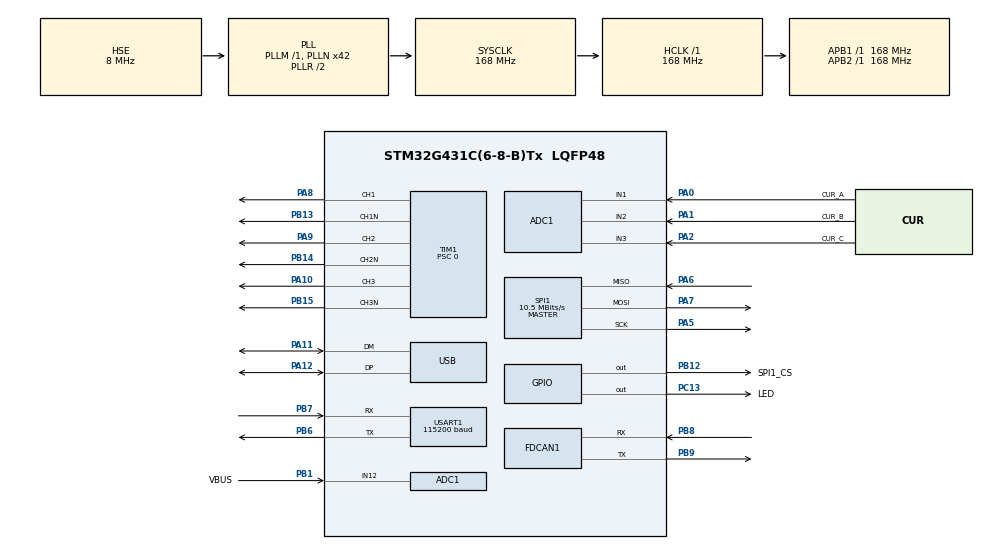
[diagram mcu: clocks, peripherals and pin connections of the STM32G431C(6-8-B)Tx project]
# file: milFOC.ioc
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ADC1.EnableInjectedConversion=ENABLE
ADC1.EnableRegularConversion=DISABLE
ADC1.ExternalTrigInjecConv=ADC_EXTERNALTRIGINJEC_T1_CC4
ADC1.InjNumberOfConversion=4
ADC1.InjectedChannel-1\#ChannelInjectedConversion=ADC_CHANNEL_1
ADC1.InjectedChannel-2\#ChannelInjectedConversion=ADC_CHANNEL_2
ADC1.InjectedChannel-3\#ChannelInjectedConversion=ADC_CHANNEL_3
ADC1.InjectedChannel-4\#ChannelInjectedConversion=ADC_CHANNEL_12
ADC1.InjectedOffsetNumber-1\#ChannelInjectedConversion=ADC_OFFSET_NONE
ADC1.InjectedOffsetNumber-2\#ChannelInjectedConversion=ADC_OFFSET_NONE
ADC1.InjectedOffsetNumber-3\#ChannelInjectedConversion=ADC_OFFSET_NONE
ADC1.InjectedOffsetNumber-4\#ChannelInjectedConversion=ADC_OFFSET_NONE
ADC1.InjectedRank-1\#ChannelInjectedConversion=1
ADC1.InjectedRank-2\#ChannelInjectedConversion=2
ADC1.InjectedRank-3\#ChannelInjectedConversion=3
ADC1.InjectedRank-4\#ChannelInjectedConversion=4
ADC1.InjectedSamplingTime-1\#ChannelInjectedConversion=ADC_SAMPLETIME_6CYCLES_5
ADC1.InjectedSamplingTime-2\#ChannelInjectedConversion=ADC_SAMPLETIME_6CYCLES_5
ADC1.InjectedSamplingTime-3\#ChannelInjectedConversion=ADC_SAMPLETIME_6CYCLES_5
ADC1.InjectedSamplingTime-4\#ChannelInjectedConversion=ADC_SAMPLETIME_6CYCLES_5
ADC1.Rank1_Channel=ADC_CHANNEL_1
ADC1.Rank2_Channel=ADC_CHANNEL_2
ADC1.Rank3_Channel=ADC_CHANNEL_3
ADC1.Rank4_Channel=ADC_CHANNEL_12
ADC1.master=1
Dma.Request0=USART1_RX
Dma.Request1=USART1_TX
Dma.Request2=SPI1_RX
Dma.Request3=SPI1_TX
Dma.SPI1_RX.2.Direction=DMA_PERIPH_TO_MEMORY
Dma.SPI1_RX.2.EventEnable=DISABLE
Dma.SPI1_RX.2.Instance=DMA1_Channel1
Dma.SPI1_RX.2.MemDataAlignment=DMA_MDATAALIGN_BYTE
Dma.SPI1_RX.2.MemInc=DMA_MINC_ENABLE
Dma.SPI1_RX.2.Mode=DMA_NORMAL
Dma.SPI1_RX.2.PeriphDataAlignment=DMA_PDATAALIGN_BYTE
Dma.SPI1_RX.2.PeriphInc=DMA_PINC_DISABLE
Dma.SPI1_RX.2.Polarity=HAL_DMAMUX_REQ_GEN_RISING
Dma.SPI1_RX.2.Priority=DMA_PRIORITY_HIGH
Dma.SPI1_RX.2.RequestNumber=1
Dma.SPI1_RX.2.SignalID=NONE
Dma.SPI1_RX.2.SyncEnable=DISABLE
Dma.SPI1_RX.2.SyncPolarity=HAL_DMAMUX_SYNC_NO_EVENT
Dma.SPI1_RX.2.SyncRequestNumber=1
Dma.SPI1_RX.2.SyncSignalID=NONE
Dma.SPI1_TX.3.Direction=DMA_MEMORY_TO_PERIPH
Dma.SPI1_TX.3.EventEnable=DISABLE
Dma.SPI1_TX.3.Instance=DMA1_Channel2
Dma.SPI1_TX.3.MemDataAlignment=DMA_MDATAALIGN_BYTE
Dma.SPI1_TX.3.MemInc=DMA_MINC_ENABLE
Dma.SPI1_TX.3.Mode=DMA_NORMAL
Dma.SPI1_TX.3.PeriphDataAlignment=DMA_PDATAALIGN_BYTE
Dma.SPI1_TX.3.PeriphInc=DMA_PINC_DISABLE
Dma.SPI1_TX.3.Polarity=HAL_DMAMUX_REQ_GEN_RISING
Dma.SPI1_TX.3.Priority=DMA_PRIORITY_HIGH
Dma.SPI1_TX.3.RequestNumber=1
Dma.SPI1_TX.3.SignalID=NONE
Dma.SPI1_TX.3.SyncEnable=DISABLE
Dma.SPI1_TX.3.SyncPolarity=HAL_DMAMUX_SYNC_NO_EVENT
Dma.SPI1_TX.3.SyncRequestNumber=1
Dma.SPI1_TX.3.SyncSignalID=NONE
Dma.USART1_RX.0.Direction=DMA_PERIPH_TO_MEMORY
Dma.USART1_RX.0.EventEnable=DISABLE
Dma.USART1_RX.0.Instance=DMA1_Channel3
Dma.USART1_RX.0.MemDataAlignment=DMA_MDATAALIGN_BYTE
Dma.USART1_RX.0.MemInc=DMA_MINC_ENABLE
Dma.USART1_RX.0.Mode=DMA_NORMAL
Dma.USART1_RX.0.PeriphDataAlignment=DMA_PDATAALIGN_BYTE
Dma.USART1_RX.0.PeriphInc=DMA_PINC_DISABLE
Dma.USART1_RX.0.Polarity=HAL_DMAMUX_REQ_GEN_RISING
Dma.USART1_RX.0.Priority=DMA_PRIORITY_HIGH
Dma.USART1_RX.0.RequestNumber=1
Dma.USART1_RX.0.SignalID=NONE
Dma.USART1_RX.0.SyncEnable=DISABLE
Dma.USART1_RX.0.SyncPolarity=HAL_DMAMUX_SYNC_NO_EVENT
Dma.USART1_RX.0.SyncRequestNumber=1
Dma.USART1_RX.0.SyncSignalID=NONE
Dma.USART1_TX.1.Direction=DMA_MEMORY_TO_PERIPH
Dma.USART1_TX.1.EventEnable=DISABLE
Dma.USART1_TX.1.Instance=DMA1_Channel4
Dma.USART1_TX.1.MemDataAlignment=DMA_MDATAALIGN_BYTE
Dma.USART1_TX.1.MemInc=DMA_MINC_ENABLE
Dma.USART1_TX.1.Mode=DMA_NORMAL
Dma.USART1_TX.1.PeriphDataAlignment=DMA_PDATAALIGN_BYTE
Dma.USART1_TX.1.PeriphInc=DMA_PINC_DISABLE
Dma.USART1_TX.1.Polarity=HAL_DMAMUX_REQ_GEN_RISING
Dma.USART1_TX.1.Priority=DMA_PRIORITY_HIGH
Dma.USART1_TX.1.RequestNumber=1
Dma.USART1_TX.1.SignalID=NONE
Dma.USART1_TX.1.SyncEnable=DISABLE
Dma.USART1_TX.1.SyncPolarity=HAL_DMAMUX_SYNC_NO_EVENT
Dma.USART1_TX.1.SyncRequestNumber=1
Dma.USART1_TX.1.SyncSignalID=NONE
FDCAN1.AutoRetransmission=ENABLE
FDCAN1.CalculateBaudRateNominal=1000000
FDCAN1.CalculateTimeBitNominal=1000
FDCAN1.CalculateTimeQuantumNominal=35.714285714285715
FDCAN1.DataPrescaler=6
FDCAN1.DataSyncJumpWidth=7
FDCAN1.DataTimeSeg1=20
FDCAN1.DataTimeSeg2=7
FDCAN1.Mode=FDCAN_MODE_NORMAL
FDCAN1.NominalPrescaler=6
FDCAN1.NominalSyncJumpWidth=7
FDCAN1.NominalTimeSeg1=20
FDCAN1.NominalTimeSeg2=7
FDCAN1.StdFiltersNbr=1
Mcu.Family=STM32G4
Mcu.Name=STM32G431C(6-8-B)Tx
Mcu.Package=LQFP48
Mcu.UserConstants=MCPWM_CLOCK_HZ,168000000;MCPWM_DEADTIME_CLOCKS,20;MCPWM_TGRO_TIME,MCPWM_PERIOD_CLOCKS-10;MCPWM_RCR,0;MCPWM_FREQ,20000;MCPWM_PERIOD_CLOCKS,MCPWM_CLOCK_HZ/2/MCPWM_FREQ
NVIC.ADC1_2_IRQn=true\:5\:0\:true\:false\:true\:true\:true\:true
NVIC.DMA1_Channel1_IRQn=true\:0\:0\:false\:false\:true\:false\:true\:true
NVIC.DMA1_Channel2_IRQn=true\:0\:0\:false\:false\:true\:false\:true\:true
NVIC.DMA1_Channel3_IRQn=true\:5\:0\:true\:false\:true\:false\:true\:true
NVIC.DMA1_Channel4_IRQn=true\:5\:0\:true\:false\:true\:false\:true\:true
NVIC.FDCAN1_IT0_IRQn=true\:6\:0\:true\:false\:true\:true\:true\:true
NVIC.FDCAN1_IT1_IRQn=true\:6\:0\:true\:false\:true\:true\:true\:true
NVIC.PriorityGroup=NVIC_PRIORITYGROUP_4
NVIC.SPI1_IRQn=true\:5\:0\:true\:false\:true\:true\:true\:true
NVIC.TIM1_TRG_COM_TIM17_IRQn=true\:15\:0\:true\:false\:true\:true\:true\:true
NVIC.TimeBase=TIM1_TRG_COM_TIM17_IRQn
NVIC.TimeBaseIP=TIM17
NVIC.USART1_IRQn=true\:7\:0\:true\:false\:true\:true\:true\:true
NVIC.USB_LP_IRQn=true\:5\:0\:true\:false\:true\:false\:true\:true
PA0.GPIO_Label=CUR_A
PA0.Mode=IN1-Single-Ended
PA0.Signal=ADC1_IN1
PA1.GPIO_Label=CUR_B
PA1.Mode=IN2-Single-Ended
PA1.Signal=ADC1_IN2
PA10.Signal=S_TIM1_CH3
PA11.Mode=Device
PA11.Signal=USB_DM
PA12.Mode=Device
PA12.Signal=USB_DP
PA13.Mode=Serial_Wire
PA13.Signal=SYS_JTMS-SWDIO
PA14.Mode=Serial_Wire
PA14.Signal=SYS_JTCK-SWCLK
PA2.GPIO_Label=CUR_C
PA2.Mode=IN3-Single-Ended
PA2.Signal=ADC1_IN3
PA5.Mode=Full_Duplex_Master
PA5.Signal=SPI1_SCK
PA6.Mode=Full_Duplex_Master
PA6.Signal=SPI1_MISO
PA7.Mode=Full_Duplex_Master
PA7.Signal=SPI1_MOSI
PA8.Signal=S_TIM1_CH1
PA9.Signal=S_TIM1_CH2
PB1.GPIO_Label=VBUS
PB1.Mode=IN12-Single-Ended
PB1.Signal=ADC1_IN12
PB12.GPIO_Label=SPI1_CS
PB12.GPIO_Speed=GPIO_SPEED_FREQ_VERY_HIGH
PB12.Signal=GPIO_Output
PB13.Mode=PWM Generation1 CH1 CH1N
PB13.Signal=TIM1_CH1N
PB14.Mode=PWM Generation2 CH2 CH2N
PB14.Signal=TIM1_CH2N
PB15.Mode=PWM Generation3 CH3 CH3N
PB15.Signal=TIM1_CH3N
PB6.Mode=Asynchronous
PB6.Signal=USART1_TX
PB7.Mode=Asynchronous
PB7.Signal=USART1_RX
PB8-BOOT0.Mode=FDCAN_Activate
PB8-BOOT0.Signal=FDCAN1_RX
PB9.Mode=FDCAN_Activate
PB9.Signal=FDCAN1_TX
PC13.GPIO_Label=LED
PC13.Signal=GPIO_Output
PF0-OSC_IN.Mode=HSE-External-Oscillator
PF0-OSC_IN.Signal=RCC_OSC_IN
PF1-OSC_OUT.Mode=HSE-External-Oscillator
PF1-OSC_OUT.Signal=RCC_OSC_OUT
ProjectManager.HeapSize=0x200
ProjectManager.StackSize=0x400
ProjectManager.TargetToolchain=CMake
RCC.ADC12Freq_Value=168000000
RCC.AHBFreq_Value=168000000
RCC.APB1Freq_Value=168000000
RCC.APB1TimFreq_Value=168000000
RCC.APB2Freq_Value=168000000
RCC.APB2TimFreq_Value=168000000
RCC.CK48CLockSelection=RCC_USBCLKSOURCE_HSI48
RCC.CortexFreq_Value=168000000
RCC.EXTERNAL_CLOCK_VALUE=12288000
RCC.HCLKFreq_Value=168000000
RCC.HSE_VALUE=8000000
RCC.HSI48_VALUE=48000000
RCC.HSI_VALUE=16000000
RCC.LSE_VALUE=32768
RCC.PLLN=42
RCC.PLLSourceVirtual=RCC_PLLSOURCE_HSE
RCC.SYSCLKFreq_VALUE=168000000
RCC.SYSCLKSource=RCC_SYSCLKSOURCE_PLLCLK
RCC.USBFreq_Value=48000000
RCC.VCOOutputFreq_Value=336000000
SH.S_TIM1_CH1.0=TIM1_CH1,PWM Generation1 CH1 CH1N
SH.S_TIM1_CH2.0=TIM1_CH2,PWM Generation2 CH2 CH2N
SH.S_TIM1_CH3.0=TIM1_CH3,PWM Generation3 CH3 CH3N
SPI1.BaudRatePrescaler=SPI_BAUDRATEPRESCALER_16
SPI1.CLKPhase=SPI_PHASE_2EDGE
SPI1.CLKPolarity=SPI_POLARITY_HIGH
SPI1.CalculateBaudRate=10.5 MBits/s
SPI1.DataSize=SPI_DATASIZE_8BIT
SPI1.Direction=SPI_DIRECTION_2LINES
SPI1.Mode=SPI_MODE_MASTER
SPI1.VirtualType=VM_MASTER
STMicroelectronics.X-CUBE-ALGOBUILD.1.5.0.LibraryCcDSPOoLibraryJjDSPOoLibrary=true
TIM1.AutoReloadPreload=TIM_AUTORELOAD_PRELOAD_DISABLE
TIM1.BreakFilter=0
TIM1.BreakState=TIM_BREAK_DISABLE
TIM1.Channel-PWM\ Generation1\ CH1\ CH1N=TIM_CHANNEL_1
TIM1.Channel-PWM\ Generation2\ CH2\ CH2N=TIM_CHANNEL_2
TIM1.Channel-PWM\ Generation3\ CH3\ CH3N=TIM_CHANNEL_3
TIM1.Channel-PWM\ Generation4\ No\ Output=TIM_CHANNEL_4
TIM1.CounterMode=TIM_COUNTERMODE_CENTERALIGNED1
TIM1.DeadTime=MCPWM_DEADTIME_CLOCKS
TIM1.PeriodNoDither=MCPWM_PERIOD_CLOCKS
TIM1.Prescaler=0
TIM1.PulseNoDither_4=MCPWM_TGRO_TIME
TIM1.RepetitionCounter=MCPWM_RCR
TIM1.SourceBRKDigInput=TIM_BREAKINPUTSOURCE_DISABLE
TIM1.TIM_MasterOutputTrigger=TIM_TRGO_OC4REF
USART1.BaudRate=115200
USART1.VirtualMode-Asynchronous=VM_ASYNC
USB_DEVICE.CLASS_NAME_FS=CDC
USB_DEVICE.VirtualMode=Cdc
USB_DEVICE.VirtualModeFS=Cdc_FS
VP_CRC_VS_CRC.Mode=CRC_Activate
VP_RNG_VS_RNG.Mode=RNG_Activate
VP_STMicroelectronics.X-CUBE-ALGOBUILD_VS_DSPOoLibraryJjLibrary_1.5.0_1.5.0.Mode=DSPOoLibraryJjLibrary
VP_SYS_VS_DBSignals.Mode=DisableDeadBatterySignals
VP_SYS_VS_tim17.Mode=TIM17
VP_TIM1_VS_no_output4.Mode=PWM Generation4 No Output
VP_USB_DEVICE_VS_USB_DEVICE_CDC_FS.Mode=CDC_FS
board=custom

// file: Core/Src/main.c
/* USER CODE BEGIN Header */
/**
  ******************************************************************************
  * @file           : main.c
  * @brief          : Main program body
  ******************************************************************************
  * @attention
  *
  * Copyright (c) 2026 STMicroelectronics.
  * All rights reserved.
  *
  * This software is licensed under terms that can be found in the LICENSE file
  * in the root directory of this software component.
  * If no LICENSE file comes with this software, it is provided AS-IS.
  *
  ******************************************************************************
  */
/* USER CODE END Header */
#include "main.h"
#include "adc.h"
#include "crc.h"
#include "dma.h"
#include "fdcan.h"
#include "rng.h"
#include "spi.h"
#include "tim.h"
#include "usart.h"
#include "usb_device.h"
#include "gpio.h"

/* USER CODE BEGIN Includes */
#include "bsp_init.h"
#include "bsp_dwt.h"
#include "bringup_task.h"
#include "usbd_cdc_if.h"
/* USER CODE END Includes */

void SystemClock_Config(void);

int main(void)
{

  /* MCU Configuration--------------------------------------------------------*/

  /* Reset of all peripherals, Initializes the Flash interface and the Systick. */
  HAL_Init();

  /* Configure the system clock */
  SystemClock_Config();

  /* Initialize all configured peripherals */
  MX_GPIO_Init();
  MX_DMA_Init();
  MX_TIM1_Init();
  MX_USB_Device_Init();
  MX_RNG_Init();
  MX_CRC_Init();
  MX_FDCAN1_Init();
  MX_ADC1_Init();
  MX_USART1_UART_Init();
  MX_SPI1_Init();
  /* USER CODE BEGIN 2 */

  /* ── Unified BSP init: DWT + TIM1 PWM + CCR preload ── */
  BSP_Init();

  /* ── Bring-Up state machine (starts per BRINGUP_STAGE macro) ── */
  BringUp_Init();

  /* USER CODE END 2 */

  /* Infinite loop */
  /* USER CODE BEGIN WHILE */

  uint64_t last_tick = 0;

  /* Seed timing reference to avoid boot-time burst execution */
  last_tick = DWT_GetTimeline_us();

  while (1)
  {
    /* USER CODE END WHILE */

    /* USER CODE BEGIN 3 */
    uint64_t now = DWT_GetTimeline_us();

    /* ── FOC loop: 20kHz (50µs period) ── */
    if ((now - last_tick) >= 50u)
    {
        last_tick += 50u;   /* Accumulative → auto-corrects jitter */
        BringUp_Step();

        /* Sub-rate tasks (counters advance per FOC step) */
        static uint32_t cmd_tick = 0u;
        static uint32_t telem_tick = 0u;

        if (++cmd_tick >= BRINGUP_CMD_POLL_DIV)
        {
            cmd_tick = 0u;
            BringUp_ProcessCmd();
        }
        if (++telem_tick >= BRINGUP_TELEMETRY_DIV)
        {
            telem_tick = 0u;
            BringUp_Telemetry();
        }
    }
  }
  /* USER CODE END 3 */
}

void SystemClock_Config(void)
{
  RCC_OscInitTypeDef RCC_OscInitStruct = {0};
  RCC_ClkInitTypeDef RCC_ClkInitStruct = {0};

  /** Configure the main internal regulator output voltage
  */
  HAL_PWREx_ControlVoltageScaling(PWR_REGULATOR_VOLTAGE_SCALE1_BOOST);

  /** Initializes the RCC Oscillators according to the specified parameters
  * in the RCC_OscInitTypeDef structure.
  */
  RCC_OscInitStruct.OscillatorType = RCC_OSCILLATORTYPE_HSI48|RCC_OSCILLATORTYPE_HSE;
  RCC_OscInitStruct.HSEState = RCC_HSE_ON;
  RCC_OscInitStruct.HSI48State = RCC_HSI48_ON;
  RCC_OscInitStruct.PLL.PLLState = RCC_PLL_ON;
  RCC_OscInitStruct.PLL.PLLSource = RCC_PLLSOURCE_HSE;
  RCC_OscInitStruct.PLL.PLLM = RCC_PLLM_DIV1;
  RCC_OscInitStruct.PLL.PLLN = 42;
  RCC_OscInitStruct.PLL.PLLP = RCC_PLLP_DIV2;
  RCC_OscInitStruct.PLL.PLLQ = RCC_PLLQ_DIV2;
  RCC_OscInitStruct.PLL.PLLR = RCC_PLLR_DIV2;
  if (HAL_RCC_OscConfig(&RCC_OscInitStruct) != HAL_OK)
  {
    Error_Handler();
  }

  /** Initializes the CPU, AHB and APB buses clocks
  */
  RCC_ClkInitStruct.ClockType = RCC_CLOCKTYPE_HCLK|RCC_CLOCKTYPE_SYSCLK
                              |RCC_CLOCKTYPE_PCLK1|RCC_CLOCKTYPE_PCLK2;
  RCC_ClkInitStruct.SYSCLKSource = RCC_SYSCLKSOURCE_PLLCLK;
  RCC_ClkInitStruct.AHBCLKDivider = RCC_SYSCLK_DIV1;
  RCC_ClkInitStruct.APB1CLKDivider = RCC_HCLK_DIV1;
  RCC_ClkInitStruct.APB2CLKDivider = RCC_HCLK_DIV1;

  if (HAL_RCC_ClockConfig(&RCC_ClkInitStruct, FLASH_LATENCY_4) != HAL_OK)
  {
    Error_Handler();
  }
}

void HAL_TIM_PeriodElapsedCallback(TIM_HandleTypeDef *htim)
{
  if (htim->Instance == TIM17)
  {
    HAL_IncTick();
  }
}

void Error_Handler(void)
{
  __disable_irq();
  while (1)
  {
  }
}
